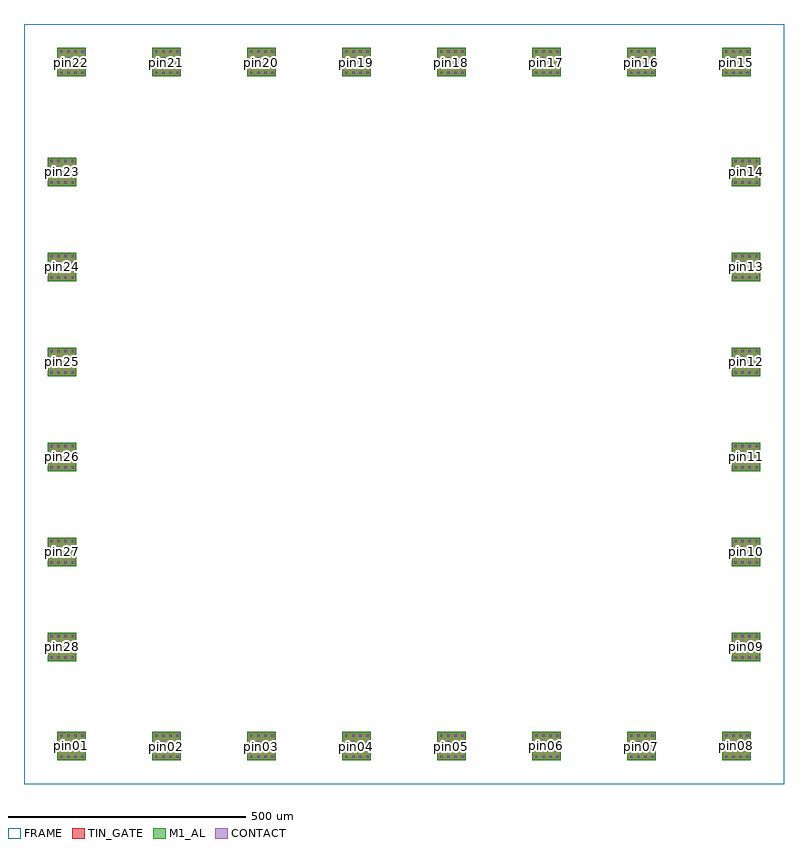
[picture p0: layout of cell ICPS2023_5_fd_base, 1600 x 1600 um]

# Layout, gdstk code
from math import pi, radians
import gdstk
lib = gdstk.Library(unit=1e-6, precision=1e-09)
def R(c, l, rs):  # rectangles x0, y0, x1, y1
    for r in rs: c.add(gdstk.rectangle(r[:2], r[2:], *l))
TIN_GATE = (5, 0)
CONTACT = (6, 0)
M1_AL = (7, 0)
FRAME = (14, 0)

c_16_5x5_flame = lib.new_cell('16_5x5_flame')
R(c_16_5x5_flame, FRAME, [(-800,-800,800,800), (-750,-750,750,750)])

tin_m1 = lib.new_cell('tin_M1')
R(tin_m1, TIN_GATE, [(-7,-7,6,6)])
R(tin_m1, CONTACT, [(-3,-3,2,2)])
R(tin_m1, M1_AL, [(-7,-7,6,6)])

pad_60_m1_tin = lib.new_cell('pad_60_m1_tin')
R(pad_60_m1_tin, TIN_GATE, [(-30,-30,30,30), (-30,-30,30,30)])
R(pad_60_m1_tin, M1_AL, [(-30,-30,30,30)])
r = gdstk.Reference(tin_m1, (22,-23), rotation=pi/2); r.repetition = gdstk.Repetition(4, 4, v1=(0,15), v2=(-15,0)); pad_60_m1_tin.add(r)

icps2023_5_fd_base = lib.new_cell('ICPS2023_5_fd_base')
icps2023_5_fd_base.add(gdstk.Reference(c_16_5x5_flame, (0,0)))
r = gdstk.Reference(pad_60_m1_tin, (700,720), rotation=pi/2); r.repetition = gdstk.Repetition(1, 8, v1=(0,0), v2=(-200,0)); icps2023_5_fd_base.add(r)
r = gdstk.Reference(pad_60_m1_tin, (700,-720), rotation=pi/2); r.repetition = gdstk.Repetition(1, 8, v1=(0,0), v2=(-200,0)); icps2023_5_fd_base.add(r)
r = gdstk.Reference(pad_60_m1_tin, (-720,488), rotation=pi); r.repetition = gdstk.Repetition(1, 6, v1=(0,0), v2=(0,-200)); icps2023_5_fd_base.add(r)
r = gdstk.Reference(pad_60_m1_tin, (720,488), rotation=pi); r.repetition = gdstk.Repetition(1, 6, v1=(0,0), v2=(0,-200)); icps2023_5_fd_base.add(r)
icps2023_5_fd_base.add(gdstk.Label('pin01', (-699,-719.5), layer=7, texttype=0))
icps2023_5_fd_base.add(gdstk.Label('pin02', (-499,-720), layer=7, texttype=0))
icps2023_5_fd_base.add(gdstk.Label('pin03', (-299,-720), layer=7, texttype=0))
icps2023_5_fd_base.add(gdstk.Label('pin04', (-99,-720), layer=7, texttype=0))
icps2023_5_fd_base.add(gdstk.Label('pin05', (101,-720), layer=7, texttype=0))
icps2023_5_fd_base.add(gdstk.Label('pin06', (301,-719.5), layer=7, texttype=0))
icps2023_5_fd_base.add(gdstk.Label('pin07', (501,-720), layer=7, texttype=0))
icps2023_5_fd_base.add(gdstk.Label('pin08', (701,-719.5), layer=7, texttype=0))
icps2023_5_fd_base.add(gdstk.Label('pin09', (720.5,-511), layer=7, texttype=0))
icps2023_5_fd_base.add(gdstk.Label('pin10', (720,-311), layer=7, texttype=0))
icps2023_5_fd_base.add(gdstk.Label('pin11', (720,-111), layer=7, texttype=0))
icps2023_5_fd_base.add(gdstk.Label('pin12', (720,89), layer=7, texttype=0))
icps2023_5_fd_base.add(gdstk.Label('pin13', (720,289), layer=7, texttype=0))
icps2023_5_fd_base.add(gdstk.Label('pin14', (720,489), layer=7, texttype=0))
icps2023_5_fd_base.add(gdstk.Label('pin15', (701,720), layer=7, texttype=0))
icps2023_5_fd_base.add(gdstk.Label('pin16', (501,720), layer=7, texttype=0))
icps2023_5_fd_base.add(gdstk.Label('pin17', (301,720), layer=7, texttype=0))
icps2023_5_fd_base.add(gdstk.Label('pin18', (101,720), layer=7, texttype=0))
icps2023_5_fd_base.add(gdstk.Label('pin19', (-99,720), layer=7, texttype=0))
icps2023_5_fd_base.add(gdstk.Label('pin20', (-299,720), layer=7, texttype=0))
icps2023_5_fd_base.add(gdstk.Label('pin21', (-499,720), layer=7, texttype=0))
icps2023_5_fd_base.add(gdstk.Label('pin22', (-699,720), layer=7, texttype=0))
icps2023_5_fd_base.add(gdstk.Label('pin23', (-720,489), layer=7, texttype=0))
icps2023_5_fd_base.add(gdstk.Label('pin24', (-720,289), layer=7, texttype=0))
icps2023_5_fd_base.add(gdstk.Label('pin25', (-720,89), layer=7, texttype=0))
icps2023_5_fd_base.add(gdstk.Label('pin26', (-720,-111), layer=7, texttype=0))
icps2023_5_fd_base.add(gdstk.Label('pin27', (-720,-311), layer=7, texttype=0))
icps2023_5_fd_base.add(gdstk.Label('pin28', (-720,-511), layer=7, texttype=0))

lib.write_gds('ICPS2023_5_fd_base.gds')
